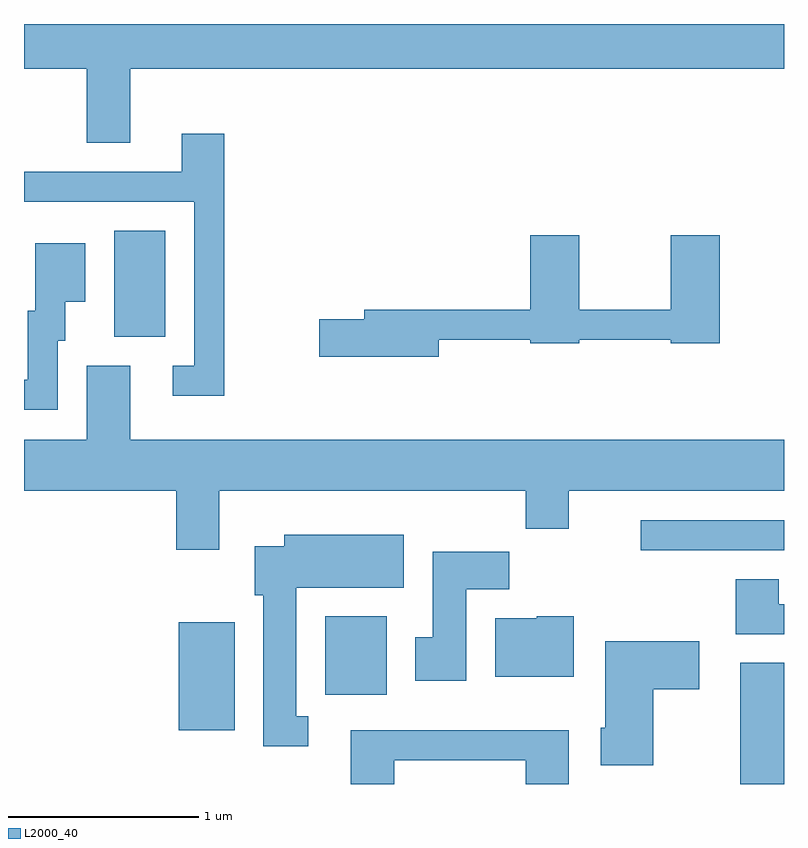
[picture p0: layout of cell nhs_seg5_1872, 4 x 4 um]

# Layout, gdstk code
import gdstk
lib = gdstk.Library(unit=1e-6, precision=1e-09)
def R(c, l, rs):  # rectangles x0, y0, x1, y1
    for r in rs: c.add(gdstk.rectangle(r[:2], r[2:], *l))
def P(c, l, *ps):  # polygons
    for p in ps: c.add(gdstk.Polygon(p, *l))
L2000_40 = (2000, 40)

nhs_seg5_1872 = lib.new_cell('nhs_seg5_1872')
R(nhs_seg5_1872, L2000_40, [(243.381,1524.072,243.611,1524.709), (240.426,1524.356,240.719,1524.924), (241.196,1524.541,241.519,1524.954), (242.858,1525.301,243.611,1525.459), (240.086,1526.426,240.354,1526.984)])
P(nhs_seg5_1872, L2000_40, [(240.169,1527.836),(243.611,1527.836),(243.611,1528.072),(239.611,1528.072),(239.611,1527.836),(239.941,1527.836),(239.941,1527.446),(240.169,1527.446)],
  [(240.664,1527.494),(240.441,1527.494),(240.441,1527.294),(239.611,1527.294),(239.611,1527.136),(240.506,1527.136),(240.506,1526.274),(240.393,1526.274),(240.393,1526.116),(240.664,1526.116)],
  [(241.794,1526.411),(242.276,1526.411),(242.276,1526.391),(242.534,1526.391),(242.534,1526.411),(243.016,1526.411),(243.016,1526.391),(243.274,1526.391),(243.274,1526.959),(243.016,1526.959),(243.016,1526.569),(242.534,1526.569),(242.534,1526.959),(242.276,1526.959),(242.276,1526.569),(241.401,1526.569),(241.401,1526.519),(241.166,1526.519),(241.166,1526.321),(241.794,1526.321)],
  [(239.789,1526.406),(239.829,1526.406),(239.829,1526.611),(239.934,1526.611),(239.934,1526.919),(239.671,1526.919),(239.671,1526.564),(239.631,1526.564),(239.631,1526.199),(239.611,1526.199),(239.611,1526.041),(239.789,1526.041)],
  [(240.169,1526.274),(239.941,1526.274),(239.941,1525.884),(239.611,1525.884),(239.611,1525.616),(240.411,1525.616),(240.411,1525.306),(240.639,1525.306),(240.639,1525.616),(242.251,1525.616),(242.251,1525.416),(242.479,1525.416),(242.479,1525.616),(243.611,1525.616),(243.611,1525.884),(240.169,1525.884)],
  [(241.108,1524.429),(241.044,1524.429),(241.044,1525.106),(241.609,1525.106),(241.609,1525.384),(240.981,1525.384),(240.981,1525.324),(240.826,1525.324),(240.826,1525.066),(240.871,1525.066),(240.871,1524.271),(241.108,1524.271)],
  [(241.939,1525.096),(242.164,1525.096),(242.164,1525.294),(241.761,1525.294),(241.761,1524.844),(241.671,1524.844),(241.671,1524.616),(241.939,1524.616)],
  [(243.611,1525.019),(243.584,1525.019),(243.584,1525.149),(243.356,1525.149),(243.356,1524.861),(243.611,1524.861)],
  [(242.504,1524.954),(242.31,1524.954),(242.31,1524.944),(242.091,1524.944),(242.091,1524.636),(242.504,1524.636)],
  [(242.924,1524.571),(243.164,1524.571),(243.164,1524.824),(242.671,1524.824),(242.671,1524.369),(242.646,1524.369),(242.646,1524.171),(242.924,1524.171)],
  [(241.559,1524.196),(242.251,1524.196),(242.251,1524.072),(242.479,1524.072),(242.479,1524.354),(241.331,1524.354),(241.331,1524.072),(241.559,1524.072)])

lib.write_gds('nhs_seg5_1872.gds')
